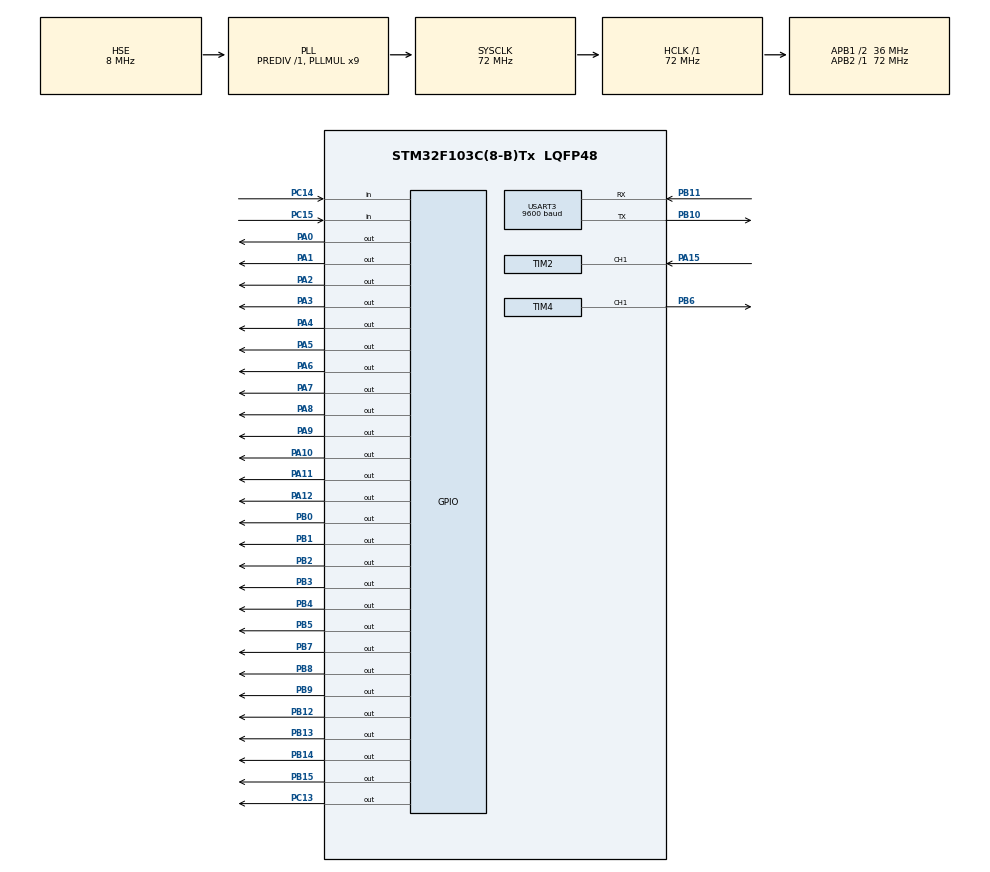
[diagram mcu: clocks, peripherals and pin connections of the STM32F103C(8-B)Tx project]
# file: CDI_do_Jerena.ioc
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Dma.Request0=USART3_RX
Dma.Request1=USART3_TX
Dma.USART3_RX.0.Direction=DMA_PERIPH_TO_MEMORY
Dma.USART3_RX.0.Instance=DMA1_Channel3
Dma.USART3_RX.0.MemDataAlignment=DMA_MDATAALIGN_BYTE
Dma.USART3_RX.0.MemInc=DMA_MINC_ENABLE
Dma.USART3_RX.0.Mode=DMA_NORMAL
Dma.USART3_RX.0.PeriphDataAlignment=DMA_PDATAALIGN_BYTE
Dma.USART3_RX.0.PeriphInc=DMA_PINC_DISABLE
Dma.USART3_RX.0.Priority=DMA_PRIORITY_LOW
Dma.USART3_TX.1.Direction=DMA_MEMORY_TO_PERIPH
Dma.USART3_TX.1.Instance=DMA1_Channel2
Dma.USART3_TX.1.MemDataAlignment=DMA_MDATAALIGN_BYTE
Dma.USART3_TX.1.MemInc=DMA_MINC_ENABLE
Dma.USART3_TX.1.Mode=DMA_NORMAL
Dma.USART3_TX.1.PeriphDataAlignment=DMA_PDATAALIGN_BYTE
Dma.USART3_TX.1.PeriphInc=DMA_PINC_DISABLE
Dma.USART3_TX.1.Priority=DMA_PRIORITY_LOW
Mcu.Family=STM32F1
Mcu.Name=STM32F103C(8-B)Tx
Mcu.Package=LQFP48
NVIC.DMA1_Channel2_IRQn=true\:0\:0\:false\:false\:true\:false\:true
NVIC.DMA1_Channel3_IRQn=true\:0\:0\:false\:false\:true\:false\:true
NVIC.FLASH_IRQn=true\:0\:0\:false\:false\:true\:true\:true
NVIC.PVD_IRQn=true\:0\:0\:false\:false\:true\:true\:true
NVIC.PriorityGroup=NVIC_PRIORITYGROUP_4
NVIC.RCC_IRQn=true\:0\:0\:false\:false\:true\:true\:false
NVIC.TIM2_IRQn=true\:0\:0\:false\:false\:true\:true\:true
NVIC.TIM3_IRQn=true\:0\:0\:false\:false\:true\:true\:true
NVIC.TIM4_IRQn=true\:0\:0\:false\:false\:true\:true\:true
NVIC.USART3_IRQn=true\:0\:0\:false\:false\:true\:true\:true
PA0-WKUP.Signal=GPIO_Output
PA1.Signal=GPIO_Output
PA10.Signal=GPIO_Output
PA11.Signal=GPIO_Output
PA12.Signal=GPIO_Output
PA13.Mode=Serial_Wire
PA13.Signal=SYS_JTMS-SWDIO
PA14.Mode=Serial_Wire
PA14.Signal=SYS_JTCK-SWCLK
PA15.Signal=S_TIM2_CH1_ETR
PA2.GPIO_Speed=GPIO_SPEED_FREQ_HIGH
PA2.Signal=GPIO_Output
PA3.Signal=GPIO_Output
PA4.Signal=GPIO_Output
PA5.Signal=GPIO_Output
PA6.GPIO_Speed=GPIO_SPEED_FREQ_HIGH
PA6.Signal=GPIO_Output
PA7.Signal=GPIO_Output
PA8.Signal=GPIO_Output
PA9.Signal=GPIO_Output
PB0.GPIO_Speed=GPIO_SPEED_FREQ_HIGH
PB0.Signal=GPIO_Output
PB1.GPIO_ModeDefaultOutputPP=GPIO_MODE_OUTPUT_PP
PB1.GPIO_PuPd=GPIO_NOPULL
PB1.GPIO_Speed=GPIO_SPEED_FREQ_HIGH
PB1.Signal=GPIO_Output
PB10.Mode=Asynchronous
PB10.Signal=USART3_TX
PB11.Mode=Asynchronous
PB11.Signal=USART3_RX
PB12.Signal=GPIO_Output
PB13.Signal=GPIO_Output
PB14.Signal=GPIO_Output
PB15.Signal=GPIO_Output
PB2.Signal=GPIO_Output
PB3.Signal=GPIO_Output
PB4.Signal=GPIO_Output
PB5.Signal=GPIO_Output
PB6.Signal=S_TIM4_CH1
PB7.Signal=GPIO_Output
PB8.Signal=GPIO_Output
PB9.Signal=GPIO_Output
PC13-TAMPER-RTC.GPIO_ModeDefaultOutputPP=GPIO_MODE_OUTPUT_PP
PC13-TAMPER-RTC.GPIO_PuPd=GPIO_NOPULL
PC13-TAMPER-RTC.GPIO_Speed=GPIO_SPEED_FREQ_HIGH
PC13-TAMPER-RTC.PinState=GPIO_PIN_RESET
PC13-TAMPER-RTC.Signal=GPIO_Output
PC14-OSC32_IN.Signal=GPIO_Input
PC15-OSC32_OUT.Signal=GPIO_Input
PD0-OSC_IN.Mode=HSE-External-Oscillator
PD0-OSC_IN.Signal=RCC_OSC_IN
PD1-OSC_OUT.Mode=HSE-External-Oscillator
PD1-OSC_OUT.Signal=RCC_OSC_OUT
ProjectManager.HeapSize=0x200
ProjectManager.StackSize=0x400
ProjectManager.TargetToolchain=MDK-ARM V5.27
RCC.ADCPresc=RCC_ADCPCLK2_DIV6
RCC.AHBFreq_Value=72000000
RCC.APB1CLKDivider=RCC_HCLK_DIV2
RCC.APB1Freq_Value=36000000
RCC.APB1TimFreq_Value=72000000
RCC.APB2Freq_Value=72000000
RCC.APB2TimFreq_Value=72000000
RCC.HCLKFreq_Value=72000000
RCC.PLLMUL=RCC_PLL_MUL9
RCC.PLLSourceVirtual=RCC_PLLSOURCE_HSE
RCC.SYSCLKFreq_VALUE=72000000
RCC.SYSCLKSource=RCC_SYSCLKSOURCE_PLLCLK
RCC.USBFreq_Value=72000000
SH.S_TIM2_CH1_ETR.0=TIM2_CH1,Input_Capture1_from_TI1
SH.S_TIM4_CH1.0=TIM4_CH1,PWM Generation1 CH1
TIM2.Channel-Input_Capture1_from_TI1=TIM_CHANNEL_1
TIM2.ICFilter_CH1=8
TIM2.ICPolarity_CH1=TIM_INPUTCHANNELPOLARITY_FALLING
TIM2.Period=65535
TIM2.Prescaler=55
TIM3.ClockDivision=TIM_CLOCKDIVISION_DIV1
TIM3.Period=65535
TIM3.Prescaler=100
TIM4.Channel-PWM\ Generation1\ CH1=TIM_CHANNEL_1
TIM4.Period=1440
TIM4.Prescaler=1
TIM4.Pulse-PWM\ Generation1\ CH1=300
USART3.BaudRate=9600
USART3.VirtualMode=VM_ASYNC
VP_TIM2_VS_ClockSourceINT.Mode=Internal
VP_TIM3_VS_ClockSourceINT.Mode=Internal
board=custom

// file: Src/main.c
/* USER CODE BEGIN Header */
/**
  ******************************************************************************
  * @file           : main.c
  * @brief          : Main program body
  ******************************************************************************
  * @attention
  *
  * <h2><center>&copy; Copyright (c) 2020 STMicroelectronics.
  * All rights reserved.</center></h2>
  *
  * This software component is licensed by ST under BSD 3-Clause license,
  * the "License"; You may not use this file except in compliance with the
  * License. You may obtain a copy of the License at:
  *                        opensource.org/licenses/BSD-3-Clause
  *
  ******************************************************************************
  */
/* USER CODE END Header */

#include "main.h"

TIM_HandleTypeDef htim2;
TIM_HandleTypeDef htim3;
TIM_HandleTypeDef htim4;

UART_HandleTypeDef huart3;
DMA_HandleTypeDef hdma_usart3_rx;
DMA_HandleTypeDef hdma_usart3_tx;

/* USER CODE BEGIN PV */
#define FALSE                          0u
#define TRUE                           1u
#define Sat_Motor_Speed                9u
#define motor_period                   5u
#define TMR2_16bits                65536u
#define RPM_const               78545455u

//Global variable
enum Output_Level {OFF, ON} level;
enum Event_status {EMPTY, PROGRAMMED, DONE} status;
enum Transmission_Status {BUFFER_TX_EMPTY, TRANSMITING, TRANSMISSION_DONE} transmstatus = BUFFER_TX_EMPTY;
enum Reception_Status {BUFFER_RX_EMPTY, DATA_AVAILABLE_RX_BUFFER} receptstatus = BUFFER_RX_EMPTY;

int8_t sim_rpm_index;

typedef struct emulation
{
	uint8_t  Activation;
	uint16_t Ton;
	uint16_t Toff;
	uint16_t Engine_Speed;
}eng_speed_emu;

eng_speed_emu Engine_Speed_Simulated[12] = {{ 1, 61473,  3135,   650},  //   650 rpm
                                            { 1, 62235, 14835,   800},  //   800 rpm
                                            { 1, 62895, 24975,  1000},  //  1000 rpm
                                            { 1, 64215, 45255,  2000},  //  2000 rpm
                                            { 1, 64655, 52015,  3000},  //  3000 rpm
                                            { 1, 64875, 55395,  4000},  //  4000 rpm
                                            { 1, 65007, 57423,  5000},  //  5000 rpm
                                            { 1, 65095, 58775,  6000},  //  6000 rpm
                                            { 1, 65158, 59741,  7000},  //  7000 rpm
                                            { 1, 65205, 60465,  8000},  //  8000 rpm
                                            { 1, 65242, 61028,  9000},  //  9000 rpm
                                            { 1, 65271, 61479, 10000}}; // 10000 rpm
typedef struct system_info
{
	uint8_t  Low_speed_detected;
	uint8_t  Cutoff_IGN;
	uint8_t  Update_calc;
  uint32_t nOverflow;
  uint32_t Rising_Edge_Counter;
	uint32_t Measured_Period;
	uint8_t  nOverflow_RE;
	uint8_t  nOverflow_FE;
	uint16_t Engine_Speed_old;
	uint16_t Engine_Speed;
	uint32_t Predicted_Period;
	uint32_t TDuty_Input_Signal;
  uint32_t TStep;
	uint8_t  nAdv;
}system_vars;

volatile system_vars scenario = {0,0,0,0,0,0,0,0,0,0,0,0,0,0};

typedef struct list
{
	uint8_t length;
	uint8_t array_sorted[12];
}sort_alg;

sort_alg sortvar = {0,{0,0,0,0,0,0,0,0,0,0,0,0}};

typedef struct Scheduler
{
	uint8_t program;
	uint32_t target_time;
}sched_var;

sched_var array_sched_var[3];

volatile uint32_t timer2 = 0;

typedef struct Motor_Control
{
	uint16_t motor_speed[10];
	uint16_t timer[10];
}motor_control_type;

/*
motor_control_type motor_status = {{    0,  1000,  2000,  1000,  2000,
	                                   1000,  2000,  1000,  2000,  1000},
                                    {  30,   400,   400,   400,   400,
									                    400,   400,   400,   400,   400}};
*/
motor_control_type motor_status = {{    0,  1000,  1500,  2000,  2500,
	                                   3000,  3500,  4000,  4500,  5000},
                                    { 200,   400,   400,   400,   400,
									                    400,   400,   400,   400,   400}};

uint8_t time_elapsed;

//PID control
uint16_t MotorSpeed_Setpoint;
uint16_t MotorSpeed;
int32_t CumError;
uint16_t kpnum=600;
uint16_t kpdenum=1000;
uint16_t kinum=20;
uint16_t kidenum=1000;
int32_t Pwm_PI=0;
uint16_t Pwm_OUT=0;
int32_t error_visual;

//Communication Variables
uint8_t UART3_txBuffer[6]={'A','1','0','0','0',0x0A};
uint8_t UART3_rxBuffer[5];
uint8_t Curve_Generation=0;

/* USER CODE END PV */

void SystemClock_Config(void);
static void MX_GPIO_Init(void);
static void MX_DMA_Init(void);
static void MX_TIM2_Init(void);
static void MX_TIM3_Init(void);
static void MX_TIM4_Init(void);
static void MX_USART3_UART_Init(void);
/* USER CODE BEGIN PFP */

void Set_Ouput_LED(void)
{
	HAL_GPIO_TogglePin(GPIOC,GPIO_PIN_13);
}

void Set_Ouput_EngSpeedSignalEmulation(uint8_t Value)
{
	if (Value == TRUE)
	{
		HAL_GPIO_WritePin(GPIOB,GPIO_PIN_0,GPIO_PIN_SET);
	}
	else
	{
		HAL_GPIO_WritePin(GPIOB,GPIO_PIN_0,GPIO_PIN_RESET);
	}
}

void Set_Ouput_InterruptionTest(void)
{
	HAL_GPIO_TogglePin(GPIOA,GPIO_PIN_6);
}

void sort_alg_exec(void)
{
	uint8_t y=0;

	for(int j=0;j<12;j++)
	{
		if(Engine_Speed_Simulated[j].Activation==1)
		{
			sortvar.array_sorted[y] = j;
			sortvar.length++;
			y++;
		}
	}
}

void Change_Engine_Speed_Simulation(void)
{
	static uint8_t counter;

	if(counter<sortvar.length)
	{
		sim_rpm_index = sortvar.array_sorted[counter];
		counter++;
	}
	else
	{
		counter = 0;
	}
}

void Timeout(uint32_t period, void (*func)(void), sched_var var[], uint8_t pos, uint8_t *resp_var)
{
  uint32_t counter;

  counter = HAL_GetTick();

  if(var[pos].program == 0)
  {
    var[pos].target_time = counter+period;
    var[pos].program = 1;
  }

  if(counter>=var[pos].target_time)
  {
    var[pos].program = 0;
    *resp_var = TRUE;
  }
  else
  {
    *resp_var = FALSE;
  }
}

void Engine_STOP_test(void)
{
  static uint32_t actual, old;

	actual=scenario.Rising_Edge_Counter;

	if(actual==old)
	{
		scenario.Rising_Edge_Counter=0;
    MotorSpeed=0;
		CumError=0;
  }

  old=actual;
}

uint8_t ConvertNum4DigToStr(uint16_t num, uint8_t resp[], uint8_t i)
{
	uint8_t Mil, Cent, Dez, Unid;
	uint16_t Man;

	if((num>=0)&&(num<=9999))
	{
		Mil = (num/1000u)+0x30;
		Man = num%1000u;
		Cent = (Man/100u)+0x30;
		Man = Man%100u;
		Dez = (Man/10u)+0x30;
		Unid = (Man%10u)+0x30;

		resp[i]=Mil;
		resp[i+1]=Cent;
		resp[i+2]=Dez;
		resp[i+3]=Unid;

		return(TRUE);
	}
	else
	{
		return(FALSE);
	}
}

void Checksum(uint8_t strg[], uint8_t strg_length)
{
	uint8_t i,result;

	for(i=0;i<(strg_length)-1;i++)
	{
		result+=strg[i];
	}

	strg[(strg_length)-1]=result;
}

void Data_Transmission(void)
{
	UART3_txBuffer[0] = 'R';
	UART3_txBuffer[5] = 0x0A;
	ConvertNum4DigToStr(MotorSpeed, UART3_txBuffer, 1);
	transmstatus = TRANSMITING;
	HAL_UART_Transmit_DMA(&huart3, UART3_txBuffer, sizeof(UART3_txBuffer));
}

uint8_t Data_Reception()
{
	uint8_t i, j, service;
	uint8_t buffer[5];

	if(receptstatus == DATA_AVAILABLE_RX_BUFFER)
	{

		for(i=0;i<5;i++)
		{
			buffer[i] = UART3_rxBuffer[i];
			UART3_rxBuffer[i] = 0x00;
		}

		service=buffer[0];
		j=1;

		switch(service)
		{
			case 'A': MotorSpeed_Setpoint=(((buffer[j]-48u)*1000u)+((buffer[j+1]-48u)*100u)+((buffer[j+2]-48u)*10u)+((buffer[j+3]-48u*1u)));
								break;

			case 'B': MotorSpeed_Setpoint=0;
								break;

			case 'C': Curve_Generation=1;
								break;

			case 'D': Curve_Generation=0;
								time_elapsed=0;
								MotorSpeed_Setpoint=0;
								break;

			default:  break;
		}

		receptstatus = BUFFER_RX_EMPTY;
	}
}

void PI_Control(void)
{
	int32_t Error=0;

	Error=MotorSpeed_Setpoint-MotorSpeed;
	error_visual=Error;

	if((Pwm_PI>=0)&&(Pwm_PI<=2800u))
  {
		CumError+=Error;
	}

	//The wheel speed is not reliable in low speed, can interfer drasticly during the control...
	if(MotorSpeed_Setpoint==0)
	{
		Error=0;
    CumError=0;
	}

  Pwm_PI=(((kpnum*kidenum*Error)+(kinum*kpdenum*CumError))/(kpdenum*kidenum));

  if((Pwm_PI>=0)&&(Pwm_PI<=2800u))
  {
		Pwm_OUT=Pwm_PI;
  }
	else
	{
		/*
		if(Pwm_PI<0u)
		{
			Pwm_OUT=0u;
		}
		else
	  {
			Pwm_OUT=2800u;
		}
		*/
		Pwm_OUT=0u;
  }

	__HAL_TIM_SET_COMPARE(&htim4,TIM_CHANNEL_1,Pwm_OUT);
}

void Task_Fast(void)
{

}

void Task_Medium(void)
{
	static uint8_t i;

	Set_Ouput_LED();

	Data_Reception();
	Data_Transmission();

	//if(Curve_Generation)
	if(1)
	{
		if(time_elapsed==0)
		{
			MotorSpeed_Setpoint=motor_status.motor_speed[i];
			time_elapsed=motor_status.timer[i];

			if(i<Sat_Motor_Speed)
			{
				i++;
			}
			else
			{
				i=0;
			}
		}
		else
		{
			time_elapsed--;
		}
	}

	//MotorSpeed_Setpoint=1000;
  PI_Control();
}

void Task_Slow(void)
{
	Change_Engine_Speed_Simulation();
	Engine_STOP_test();
}

void Periodic_task(uint32_t period, void (*func)(void), sched_var var[], uint8_t pos)
{
  volatile uint32_t counter;

	counter = HAL_GetTick();

  if(var[pos].program == 0)
  {
    var[pos].target_time = counter+period;
    var[pos].program = 1;
  }

  if(counter>=var[pos].target_time)
  {
    var[pos].program = 0;
    (*func)();
  }
}

void Set_Pulse_Program(void)
{
	scenario.Measured_Period += scenario.nOverflow_RE*TMR2_16bits;
  scenario.Engine_Speed = RPM_const/scenario.Measured_Period;
	MotorSpeed = scenario.Engine_Speed;
}

/* USER CODE END PFP */

/* USER CODE BEGIN 0 */

void HAL_UART_TxCpltCallback(UART_HandleTypeDef *huart)
{
  transmstatus = TRANSMISSION_DONE;
}

void HAL_UART_RxCpltCallback(UART_HandleTypeDef *huart)
{
	receptstatus = DATA_AVAILABLE_RX_BUFFER;
	HAL_UART_Receive_DMA(&huart3, (uint8_t*)UART3_rxBuffer, sizeof(UART3_rxBuffer));
}

void HAL_UART_ErrorCallback(UART_HandleTypeDef *huart)
{
	static int8_t k;

	k++;
}

/* USER CODE END 0 */

int main(void)
{

  /* MCU Configuration--------------------------------------------------------*/

  /* Reset of all peripherals, Initializes the Flash interface and the Systick. */
  HAL_Init();

  /* Configure the system clock */
  SystemClock_Config();

  /* Initialize all configured peripherals */
  MX_GPIO_Init();
  MX_DMA_Init();
  MX_TIM2_Init();
  MX_TIM3_Init();
  MX_TIM4_Init();
  MX_USART3_UART_Init();
  /* USER CODE BEGIN 2 */
	HAL_UART_Receive_DMA(&huart3, (uint8_t*)UART3_rxBuffer, sizeof(UART3_rxBuffer));

	__HAL_TIM_ENABLE_IT(&htim2, TIM_IT_UPDATE);
	HAL_TIM_IC_Start_IT(&htim2, TIM_CHANNEL_1);

	HAL_TIM_Base_Start_IT(&htim3);

	sort_alg_exec();
	Change_Engine_Speed_Simulation();

  /* USER CODE END 2 */

  /* Infinite loop */
  /* USER CODE BEGIN WHILE */
  while (1)
  {
		if (scenario.Update_calc == 1)
	  {
			Set_Pulse_Program();
			scenario.Update_calc = 0;
		}

    //Scheduler
		Periodic_task(20,&Task_Fast, array_sched_var, 0);
		Periodic_task(100,&Task_Medium, array_sched_var, 1);
		Periodic_task(1000,&Task_Slow, array_sched_var, 2);

    /* USER CODE END WHILE */

  }
}

void SystemClock_Config(void)
{
  RCC_OscInitTypeDef RCC_OscInitStruct = {0};
  RCC_ClkInitTypeDef RCC_ClkInitStruct = {0};

  /** Initializes the CPU, AHB and APB busses clocks
  */
  RCC_OscInitStruct.OscillatorType = RCC_OSCILLATORTYPE_HSE;
  RCC_OscInitStruct.HSEState = RCC_HSE_ON;
  RCC_OscInitStruct.HSEPredivValue = RCC_HSE_PREDIV_DIV1;
  RCC_OscInitStruct.HSIState = RCC_HSI_ON;
  RCC_OscInitStruct.PLL.PLLState = RCC_PLL_ON;
  RCC_OscInitStruct.PLL.PLLSource = RCC_PLLSOURCE_HSE;
  RCC_OscInitStruct.PLL.PLLMUL = RCC_PLL_MUL9;
  if (HAL_RCC_OscConfig(&RCC_OscInitStruct) != HAL_OK)
  {
    Error_Handler();
  }
  /** Initializes the CPU, AHB and APB busses clocks
  */
  RCC_ClkInitStruct.ClockType = RCC_CLOCKTYPE_HCLK|RCC_CLOCKTYPE_SYSCLK
                              |RCC_CLOCKTYPE_PCLK1|RCC_CLOCKTYPE_PCLK2;
  RCC_ClkInitStruct.SYSCLKSource = RCC_SYSCLKSOURCE_PLLCLK;
  RCC_ClkInitStruct.AHBCLKDivider = RCC_SYSCLK_DIV1;
  RCC_ClkInitStruct.APB1CLKDivider = RCC_HCLK_DIV2;
  RCC_ClkInitStruct.APB2CLKDivider = RCC_HCLK_DIV1;

  if (HAL_RCC_ClockConfig(&RCC_ClkInitStruct, FLASH_LATENCY_2) != HAL_OK)
  {
    Error_Handler();
  }
}

static void MX_TIM2_Init(void)
{

  TIM_ClockConfigTypeDef sClockSourceConfig = {0};
  TIM_MasterConfigTypeDef sMasterConfig = {0};
  TIM_IC_InitTypeDef sConfigIC = {0};

  htim2.Instance = TIM2;
  htim2.Init.Prescaler = 55;
  htim2.Init.CounterMode = TIM_COUNTERMODE_UP;
  htim2.Init.Period = 65535;
  htim2.Init.ClockDivision = TIM_CLOCKDIVISION_DIV1;
  htim2.Init.AutoReloadPreload = TIM_AUTORELOAD_PRELOAD_DISABLE;
  if (HAL_TIM_Base_Init(&htim2) != HAL_OK)
  {
    Error_Handler();
  }
  sClockSourceConfig.ClockSource = TIM_CLOCKSOURCE_INTERNAL;
  if (HAL_TIM_ConfigClockSource(&htim2, &sClockSourceConfig) != HAL_OK)
  {
    Error_Handler();
  }
  if (HAL_TIM_IC_Init(&htim2) != HAL_OK)
  {
    Error_Handler();
  }
  sMasterConfig.MasterOutputTrigger = TIM_TRGO_RESET;
  sMasterConfig.MasterSlaveMode = TIM_MASTERSLAVEMODE_DISABLE;
  if (HAL_TIMEx_MasterConfigSynchronization(&htim2, &sMasterConfig) != HAL_OK)
  {
    Error_Handler();
  }
  sConfigIC.ICPolarity = TIM_INPUTCHANNELPOLARITY_FALLING;
  sConfigIC.ICSelection = TIM_ICSELECTION_DIRECTTI;
  sConfigIC.ICPrescaler = TIM_ICPSC_DIV1;
  sConfigIC.ICFilter = 8;
  if (HAL_TIM_IC_ConfigChannel(&htim2, &sConfigIC, TIM_CHANNEL_1) != HAL_OK)
  {
    Error_Handler();
  }

}

static void MX_TIM3_Init(void)
{

  TIM_ClockConfigTypeDef sClockSourceConfig = {0};
  TIM_MasterConfigTypeDef sMasterConfig = {0};

  htim3.Instance = TIM3;
  htim3.Init.Prescaler = 100;
  htim3.Init.CounterMode = TIM_COUNTERMODE_UP;
  htim3.Init.Period = 65535;
  htim3.Init.ClockDivision = TIM_CLOCKDIVISION_DIV1;
  htim3.Init.AutoReloadPreload = TIM_AUTORELOAD_PRELOAD_DISABLE;
  if (HAL_TIM_Base_Init(&htim3) != HAL_OK)
  {
    Error_Handler();
  }
  sClockSourceConfig.ClockSource = TIM_CLOCKSOURCE_INTERNAL;
  if (HAL_TIM_ConfigClockSource(&htim3, &sClockSourceConfig) != HAL_OK)
  {
    Error_Handler();
  }
  sMasterConfig.MasterOutputTrigger = TIM_TRGO_RESET;
  sMasterConfig.MasterSlaveMode = TIM_MASTERSLAVEMODE_DISABLE;
  if (HAL_TIMEx_MasterConfigSynchronization(&htim3, &sMasterConfig) != HAL_OK)
  {
    Error_Handler();
  }

}

static void MX_TIM4_Init(void)
{

  TIM_MasterConfigTypeDef sMasterConfig = {0};
  TIM_OC_InitTypeDef sConfigOC = {0};

  htim4.Instance = TIM4;
  htim4.Init.Prescaler = 1;
  htim4.Init.CounterMode = TIM_COUNTERMODE_UP;
  htim4.Init.Period = 1440;
  htim4.Init.ClockDivision = TIM_CLOCKDIVISION_DIV1;
  htim4.Init.AutoReloadPreload = TIM_AUTORELOAD_PRELOAD_DISABLE;
  if (HAL_TIM_PWM_Init(&htim4) != HAL_OK)
  {
    Error_Handler();
  }
  sMasterConfig.MasterOutputTrigger = TIM_TRGO_RESET;
  sMasterConfig.MasterSlaveMode = TIM_MASTERSLAVEMODE_DISABLE;
  if (HAL_TIMEx_MasterConfigSynchronization(&htim4, &sMasterConfig) != HAL_OK)
  {
    Error_Handler();
  }
  sConfigOC.OCMode = TIM_OCMODE_PWM1;
  sConfigOC.Pulse = 300;
  sConfigOC.OCPolarity = TIM_OCPOLARITY_HIGH;
  sConfigOC.OCFastMode = TIM_OCFAST_DISABLE;
  if (HAL_TIM_PWM_ConfigChannel(&htim4, &sConfigOC, TIM_CHANNEL_1) != HAL_OK)
  {
    Error_Handler();
  }
  /* USER CODE BEGIN TIM4_Init 2 */
  HAL_TIM_PWM_Start(&htim4, TIM_CHANNEL_1);
  /* USER CODE END TIM4_Init 2 */
  HAL_TIM_MspPostInit(&htim4);

}

static void MX_USART3_UART_Init(void)
{

  huart3.Instance = USART3;
  huart3.Init.BaudRate = 9600;
  huart3.Init.WordLength = UART_WORDLENGTH_8B;
  huart3.Init.StopBits = UART_STOPBITS_1;
  huart3.Init.Parity = UART_PARITY_NONE;
  huart3.Init.Mode = UART_MODE_TX_RX;
  huart3.Init.HwFlowCtl = UART_HWCONTROL_NONE;
  huart3.Init.OverSampling = UART_OVERSAMPLING_16;
  if (HAL_UART_Init(&huart3) != HAL_OK)
  {
    Error_Handler();
  }

}

static void MX_DMA_Init(void)
{

  /* DMA controller clock enable */
  __HAL_RCC_DMA1_CLK_ENABLE();

  /* DMA interrupt init */
  /* DMA1_Channel2_IRQn interrupt configuration */
  HAL_NVIC_SetPriority(DMA1_Channel2_IRQn, 0, 0);
  HAL_NVIC_EnableIRQ(DMA1_Channel2_IRQn);
  /* DMA1_Channel3_IRQn interrupt configuration */
  HAL_NVIC_SetPriority(DMA1_Channel3_IRQn, 0, 0);
  HAL_NVIC_EnableIRQ(DMA1_Channel3_IRQn);

}

static void MX_GPIO_Init(void)
{
  GPIO_InitTypeDef GPIO_InitStruct = {0};

  /* GPIO Ports Clock Enable */
  __HAL_RCC_GPIOC_CLK_ENABLE();
  __HAL_RCC_GPIOD_CLK_ENABLE();
  __HAL_RCC_GPIOA_CLK_ENABLE();
  __HAL_RCC_GPIOB_CLK_ENABLE();

  /*Configure GPIO pin Output Level */
  HAL_GPIO_WritePin(GPIOC, GPIO_PIN_13, GPIO_PIN_RESET);

  /*Configure GPIO pin Output Level */
  HAL_GPIO_WritePin(GPIOA, GPIO_PIN_0|GPIO_PIN_1|GPIO_PIN_2|GPIO_PIN_3
                          |GPIO_PIN_4|GPIO_PIN_5|GPIO_PIN_6|GPIO_PIN_7
                          |GPIO_PIN_8|GPIO_PIN_9|GPIO_PIN_10|GPIO_PIN_11
                          |GPIO_PIN_12, GPIO_PIN_RESET);

  /*Configure GPIO pin Output Level */
  HAL_GPIO_WritePin(GPIOB, GPIO_PIN_0|GPIO_PIN_1|GPIO_PIN_2|GPIO_PIN_12
                          |GPIO_PIN_13|GPIO_PIN_14|GPIO_PIN_15|GPIO_PIN_3
                          |GPIO_PIN_4|GPIO_PIN_5|GPIO_PIN_7|GPIO_PIN_8
                          |GPIO_PIN_9, GPIO_PIN_RESET);

  /*Configure GPIO pin : PC13 */
  GPIO_InitStruct.Pin = GPIO_PIN_13;
  GPIO_InitStruct.Mode = GPIO_MODE_OUTPUT_PP;
  GPIO_InitStruct.Pull = GPIO_NOPULL;
  GPIO_InitStruct.Speed = GPIO_SPEED_FREQ_HIGH;
  HAL_GPIO_Init(GPIOC, &GPIO_InitStruct);

  /*Configure GPIO pins : PC14 PC15 */
  GPIO_InitStruct.Pin = GPIO_PIN_14|GPIO_PIN_15;
  GPIO_InitStruct.Mode = GPIO_MODE_INPUT;
  GPIO_InitStruct.Pull = GPIO_NOPULL;
  HAL_GPIO_Init(GPIOC, &GPIO_InitStruct);

  /*Configure GPIO pins : PA0 PA1 PA3 PA4
                           PA5 PA7 PA8 PA9
                           PA10 PA11 PA12 */
  GPIO_InitStruct.Pin = GPIO_PIN_0|GPIO_PIN_1|GPIO_PIN_3|GPIO_PIN_4
                          |GPIO_PIN_5|GPIO_PIN_7|GPIO_PIN_8|GPIO_PIN_9
                          |GPIO_PIN_10|GPIO_PIN_11|GPIO_PIN_12;
  GPIO_InitStruct.Mode = GPIO_MODE_OUTPUT_PP;
  GPIO_InitStruct.Pull = GPIO_NOPULL;
  GPIO_InitStruct.Speed = GPIO_SPEED_FREQ_LOW;
  HAL_GPIO_Init(GPIOA, &GPIO_InitStruct);

  /*Configure GPIO pins : PA2 PA6 */
  GPIO_InitStruct.Pin = GPIO_PIN_2|GPIO_PIN_6;
  GPIO_InitStruct.Mode = GPIO_MODE_OUTPUT_PP;
  GPIO_InitStruct.Pull = GPIO_NOPULL;
  GPIO_InitStruct.Speed = GPIO_SPEED_FREQ_HIGH;
  HAL_GPIO_Init(GPIOA, &GPIO_InitStruct);

  /*Configure GPIO pins : PB0 PB1 */
  GPIO_InitStruct.Pin = GPIO_PIN_0|GPIO_PIN_1;
  GPIO_InitStruct.Mode = GPIO_MODE_OUTPUT_PP;
  GPIO_InitStruct.Pull = GPIO_NOPULL;
  GPIO_InitStruct.Speed = GPIO_SPEED_FREQ_HIGH;
  HAL_GPIO_Init(GPIOB, &GPIO_InitStruct);

  /*Configure GPIO pins : PB2 PB12 PB13 PB14
                           PB15 PB3 PB4 PB5
                           PB7 PB8 PB9 */
  GPIO_InitStruct.Pin = GPIO_PIN_2|GPIO_PIN_12|GPIO_PIN_13|GPIO_PIN_14
                          |GPIO_PIN_15|GPIO_PIN_3|GPIO_PIN_4|GPIO_PIN_5
                          |GPIO_PIN_7|GPIO_PIN_8|GPIO_PIN_9;
  GPIO_InitStruct.Mode = GPIO_MODE_OUTPUT_PP;
  GPIO_InitStruct.Pull = GPIO_NOPULL;
  GPIO_InitStruct.Speed = GPIO_SPEED_FREQ_LOW;
  HAL_GPIO_Init(GPIOB, &GPIO_InitStruct);

}

/* USER CODE BEGIN 4 */

uint32_t pulse_phase = 1;

void HAL_TIM_PeriodElapsedCallback(TIM_HandleTypeDef *htim)
{
	if(htim->Instance == TIM2)
	{
		scenario.nOverflow++;
	}

  if(htim->Instance == TIM3)
	{
		if(Engine_Speed_Simulated[sim_rpm_index].Activation)
		{
			switch(pulse_phase)
			{
				case 1:  Set_Ouput_EngSpeedSignalEmulation(ON);
								 __HAL_TIM_SET_COUNTER(&htim3,Engine_Speed_Simulated[sim_rpm_index].Ton);
			           pulse_phase = 2;
			           break;

		  	case 2:  Set_Ouput_EngSpeedSignalEmulation(OFF);
			           __HAL_TIM_SET_COUNTER(&htim3,Engine_Speed_Simulated[sim_rpm_index].Toff);
                 pulse_phase = 1;
			           break;

			  default: break;
		  }
	  }
	}
}

void Rising_Edge_Event(void)
{
	scenario.Measured_Period = HAL_TIM_ReadCapturedValue(&htim2,TIM_CHANNEL_1);
	scenario.nOverflow_RE = scenario.nOverflow;
	__HAL_TIM_SET_COUNTER(&htim2,0u);
	scenario.nOverflow = 0;
	scenario.Rising_Edge_Counter++;

	if (scenario.Rising_Edge_Counter>=2)
	{
		scenario.Update_calc = 1;        //set zero after Engine Stop was detected
	}
}

void HAL_TIM_IC_CaptureCallback(TIM_HandleTypeDef *htim)
{
	if((htim->Instance == TIM2)&&
	   (htim->Channel == HAL_TIM_ACTIVE_CHANNEL_1))
	{
		Rising_Edge_Event();
	}
}

/* USER CODE END 4 */

void Error_Handler(void)
{
}

/************************ (C) COPYRIGHT STMicroelectronics *****END OF FILE****/
